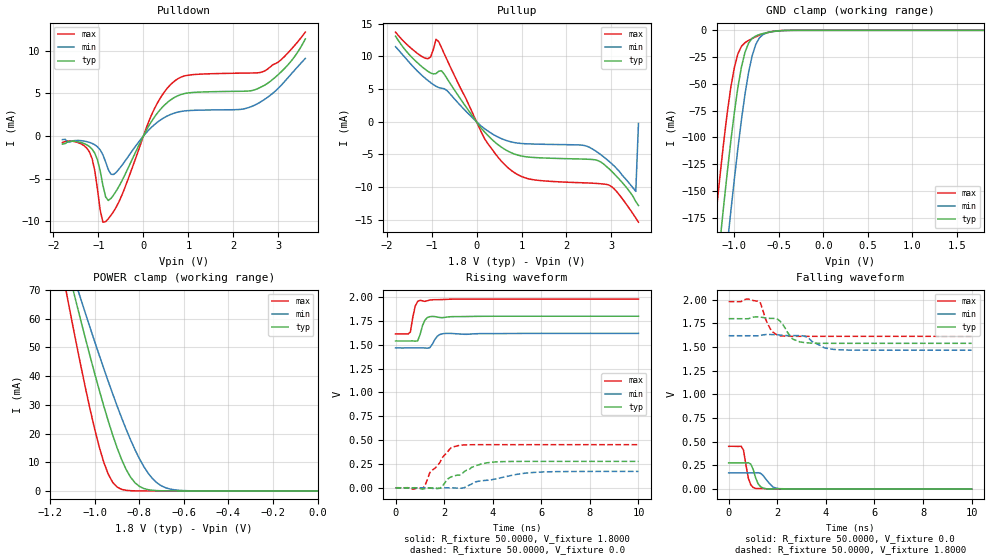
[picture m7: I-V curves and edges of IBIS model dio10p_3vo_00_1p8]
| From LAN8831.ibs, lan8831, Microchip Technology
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[Model]  dio10p_3vo_00_1p8
Model_type I/O
Polarity   Non-Inverting
Enable   Active-Low
Vinl =   0.0V
Vinh =   1.8000V
Vmeas =  0.9000V
Vref =   0.0V
C_comp   5.0000pF   5.0000pF   5.0000pF
[Temperature Range]   42.0000   0.1250k   -40.0000
[Voltage Range]   1.8000V   1.6200V   1.9800V
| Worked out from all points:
|   slope of the pulldown table from 0 to 0.27 V, typ, clamps not added: 112 ohm
|   slope of the pullup table from 0 to 0.27 V, typ, clamps not added: 122 ohm
|   GND clamp passes 1 mA (typ) near -0.56 V on its own axis
|   POWER clamp passes 1 mA (typ) near -0.78 V on its own axis
|   rising waveform, R_fixture 50.0000, V_fixture 1.8000: 20-80 % time 203ps typ, 229ps min, 166ps max; typ from 1.54 V to 1.8 V
|   rising waveform, R_fixture 50.0000, V_fixture 0.0: 20-80 % time 1.17ns typ, 1.82ns min, 778ps max; typ from 0 V to 0.277 V
|   falling waveform, R_fixture 50.0000, V_fixture 0.0: 20-80 % time 232ps typ, 338ps min, 204ps max; typ from 0.277 V to 0 V
|   falling waveform, R_fixture 50.0000, V_fixture 1.8000: 20-80 % time 409ps typ, 596ps min, 345ps max; typ from 1.8 V to 1.54 V
[Pulldown]
|Voltage   I(typ)   I(min)   I(max)
-1.8V     -946.2uA   -427.2uA   -769.9uA
-1.2V     -1.233mA   -747.4uA   -1.865mA
-1.02V    -2.817mA   -1.271mA   -6.3mA
-900mV    -5.78mA    -2.209mA   -10.12mA
-840mV    -7.14mA    -3.038mA   -10.06mA
-660mV    -6.902mA   -4.511mA   -8.841mA
180mV     1.708mA    1.026mA    2.465mA
600mV     4.216mA    2.52mA     6.014mA
1.02V     5.074mA    2.991mA    7.159mA
2.52V     5.51mA     3.747mA    7.412mA
3.12V     7.836mA    6.285mA    9.251mA
3.6V      11.4mA     9.114mA    12.2mA
[Pullup]
|Voltage   I(typ)   I(min)   I(max)
-1.8V     13.07mA    11.48mA    13.71mA
-1.14V    8.008mA    6.651mA    9.714mA
-1.02V    7.461mA    5.985mA    9.913mA
-900mV    7.373mA    5.428mA    12.62mA
-840mV    7.731mA    5.231mA    12.25mA
180mV     -1.564mA   -1.06mA    -2.593mA
780mV     -4.756mA   -3.09mA    -7.477mA
1.26V     -5.453mA   -3.403mA   -8.855mA
2.7V      -5.934mA   -4.713mA   -9.443mA
3.06V     -7.962mA   -6.761mA   -10.25mA
3.54V     -12.2mA    -10.64mA   -14.71mA
3.6V      -12.79mA   -259.8uA   -15.35mA
[GND_clamp]
|Voltage   I(typ)   I(min)   I(max)
-1.8V     -764.1mA   -833.7mA   -702.8mA
-1.24V    -262.8mA   -333.8mA   -200mA
-1.2V     -229.1mA   -299.7mA   -166.9mA
-1.16V    -196.1mA   -266.2mA   -135mA
-1.12V    -164mA     -233.2mA   -104.8mA
-1.08V    -133mA     -200.8mA   -77.14mA
-1.04V    -103.7mA   -169.3mA   -53.44mA
-920mV    -34.14mA   -83.34mA   -14.85mA
-840mV    -11.87mA   -39.24mA   -9.405mA
-760mV    -5.247mA   -13.29mA   -6.079mA
-480mV    -335uA     -444.5uA   -210.4uA
1.8V      518.1pA    11.57nA    284pA
[POWER_clamp]
|Voltage   I(typ)   I(min)   I(max)
-1.8V     305mA      257.8mA    363.6mA
-1.12V    77.07mA    80.82mA    66.04mA
-1.08V    64.61mA    71mA       50.19mA
-1.06V    58.48mA    66.15mA    42.53mA
-980mV    35.1mA     47.26mA    15.3mA
-940mV    24.45mA    38.24mA    5.894mA
-880mV    11mA       25.53mA    557.7uA
-840mV    4.852mA    17.89mA    83.67uA
-800mV    1.594mA    11.28mA    12.03uA
-740mV    210.4uA    4.206mA    650.4nA
-680mV    24.58uA    1.046mA    36.17nA
0V        518.1pA    3.529nA    483.7pA
[Ramp]
| variable   typ   min   max
dV/dt_r  0.1662/1.1827n   0.1030/1.8372n   0.2715/0.7542n
dV/dt_f  0.1561/0.4388n   91.7018m/0.6337n   0.2198/0.3060n
R_load = 50.0000
[Rising Waveform]
R_fixture= 50.0000
V_fixture= 1.8000
V_fixture_min= 1.6200
V_fixture_max= 1.9800
|time   V(typ)   V(min)   V(max)
0s        1.54V      1.467V     1.614V
610ps     1.54V      1.467V     1.633V
810ps     1.539V     1.467V     1.906V
910ps     1.541V     1.467V     1.955V
1.01ns    1.608V     1.468V     1.967V
1.21ns    1.76V      1.467V     1.956V
1.52ns    1.798V     1.509V     1.973V
1.72ns    1.791V     1.59V      1.974V
2.02ns    1.788V     1.619V     1.976V
10ns      1.8V       1.62V      1.98V
[Rising Waveform]
R_fixture= 50.0000
V_fixture= 0.0
V_fixture_min= 0.0
V_fixture_max= 0.0
|time   V(typ)   V(min)   V(max)
0s        245.9uV    162uV      488.2uV
1.11ns    -12.74mV   193.2uV    -8.27mV
1.41ns    -550.3uV   -1.63mV    158.7mV
1.82ns    -4.117mV   -5.001mV   264mV
2.02ns    48.56mV    -255.1uV   345.4mV
2.32ns    117.3mV    -473.7uV   426.8mV
2.63ns    132.6mV    -4.208mV   446.4mV
3.94ns    268.4mV    84.06mV    452.5mV
5.76ns    277mV      162.4mV    452.6mV
10ns      277.1mV    171.7mV    452.6mV
[Falling Waveform]
R_fixture= 50.0000
V_fixture= 0.0
V_fixture_min= 0.0
V_fixture_max= 0.0
|time   V(typ)   V(min)   V(max)
0s        276.7mV    171.5mV    451.9mV
510ps     276.7mV    171.7mV    453.4mV
610ps     276.5mV    171.6mV    412.3mV
810ps     279.1mV    171.6mV    115.6mV
910ps     264.4mV    171.5mV    45.61mV
1.11ns    119.4mV    172.5mV    7.673mV
1.41ns    12.19mV    146.8mV    6.258mV
1.82ns    1.605mV    23.4mV     725.7uV
2.22ns    4.417mV    1.238mV    105.3uV
10ns      -303.6nV   962.5nV    -416.7nV
[Falling Waveform]
R_fixture= 50.0000
V_fixture= 1.8000
V_fixture_min= 1.6200
V_fixture_max= 1.9800
|time   V(typ)   V(min)   V(max)
0s        1.8V       1.62V      1.979V
1.21ns    1.818V     1.619V     1.985V
1.31ns    1.817V     1.623V     1.965V
1.52ns    1.808V     1.633V     1.794V
1.72ns    1.803V     1.633V     1.69V
2.12ns    1.772V     1.626V     1.619V
2.63ns    1.585V     1.621V     1.614V
3.13ns    1.547V     1.615V     1.614V
4.34ns    1.54V      1.475V     1.614V
10ns      1.54V      1.467V     1.614V
